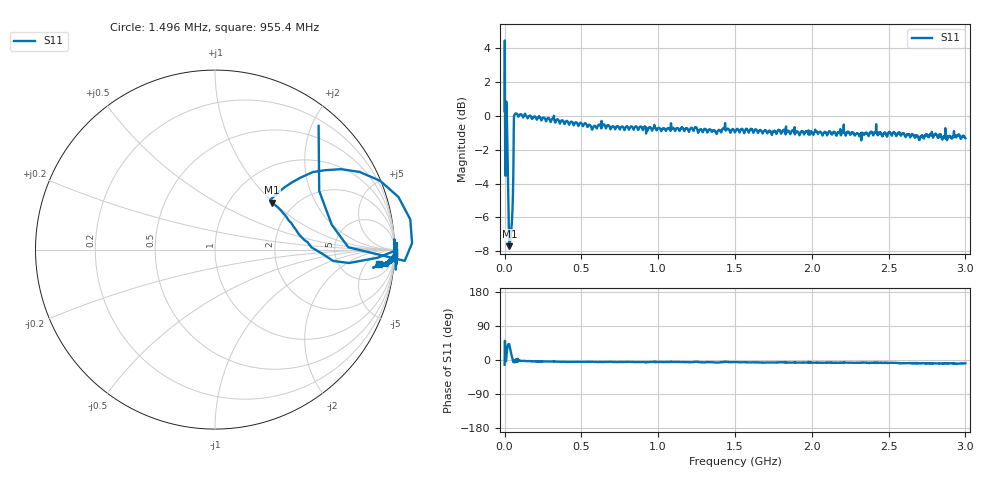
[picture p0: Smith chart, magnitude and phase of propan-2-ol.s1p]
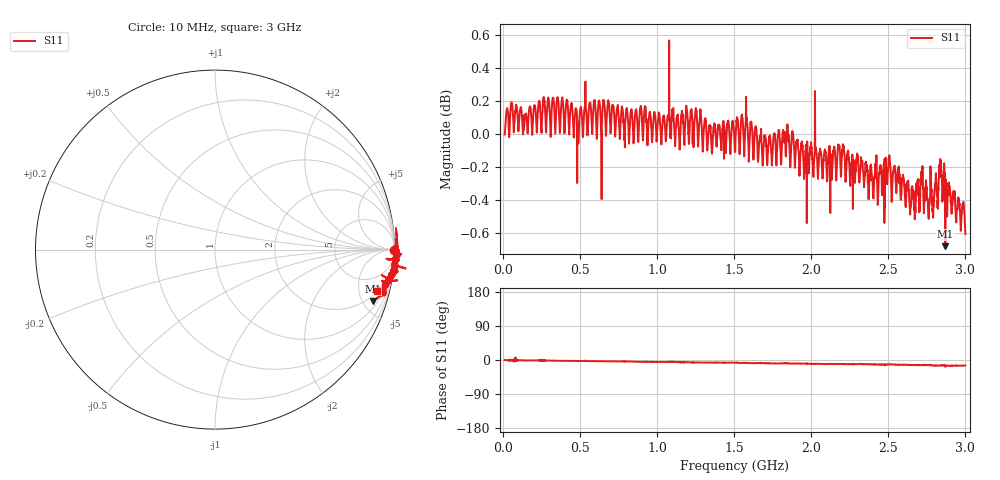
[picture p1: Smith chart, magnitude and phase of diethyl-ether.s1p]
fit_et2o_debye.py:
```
"""
Calibrate S11->Permittivity using NPL Isopropanol data, then apply to Diethyl Ether.

Method:
1. Load NPL isopropanol reference (epsilon', epsilon'' at each frequency)
2. Load your isopropanol S1P measurement
3. Create calibration mapping: epsilon = Y_measured * CalibrationFactor
   where Y_measured = (1-S11)/(1+S11) (Admittance)
4. Load your Diethyl Ether S1P measurement
5. Apply the same mapping to get Et2O's epsilon', epsilon''
6. Fit Debye model to Et2O's extracted permittivity
"""

import numpy as np
import matplotlib.pyplot as plt
from pathlib import Path
import sys
from scipy.optimize import minimize, curve_fit
from scipy.interpolate import interp1d
from scipy.stats import linregress

# Add parent directory to path for imports
sys.path.insert(0, str(Path(__file__).parent))
from ml_classifier.data_loader import parse_s1p_file

# =============================================================================
# MODELS
# =============================================================================

def debye_model(f, eps_s, eps_inf, tau):
    """Single Debye relaxation - returns complex permittivity"""
    omega = 2 * np.pi * f
    denom = 1 + (omega * tau)**2
    eps_prime = eps_inf + (eps_s - eps_inf) / denom
    eps_double_prime = (eps_s - eps_inf) * omega * tau / denom
    return eps_prime, eps_double_prime

def s11_to_admittance(s11_mag, phase_rad):
    """Convert S11 (polar) to Admittance Y = (1-Gamma)/(1+Gamma)"""
    gamma = s11_mag * np.exp(1j * phase_rad)
    # Avoid division by zero if gamma is exactly -1
    gamma = np.where(gamma == -1, -0.999999, gamma)
    y = (1 - gamma) / (1 + gamma)
    return y

# =============================================================================
# DATA LOADING
# =============================================================================

def load_npl_isopropanol():
    """Load NPL reference data for isopropanol at 15C"""
    csv_path = Path("isopropanol_permittivity_15C_NPL.csv")
    if not csv_path.exists():
        raise FileNotFoundError(f"Could not find {csv_path}")
        
    data = np.genfromtxt(csv_path, delimiter=',', skip_header=1)
    
    freq_ghz = data[:, 0]
    eps_prime = data[:, 1]
    eps_double_prime = data[:, 3]
    
    return {
        'freq_hz': freq_ghz * 1e9,
        'freq_ghz': freq_ghz,
        'eps_prime': eps_prime,
        'eps_double_prime': eps_double_prime
    }

def load_s1p_file(filepath):
    """Load S1P file and return frequency, magnitude (linear), phase (rad)"""
    freq_hz, s11_db, phase_deg = parse_s1p_file(filepath)
    
    # Convert to linear magnitude and radians
    s11_mag = 10 ** (s11_db / 20)
    phase_rad = np.deg2rad(phase_deg)
    
    return {
        'freq_hz': freq_hz,
        'freq_ghz': freq_hz / 1e9,
        's11_mag': s11_mag,
        'phase_rad': phase_rad,
        's11_db': s11_db,
        'phase_deg': phase_deg
    }

# =============================================================================
# CALIBRATION & FITTING
# =============================================================================

def create_calibration_from_isopropanol(npl_data, s1p_iso, freq_range=(0.1e9, 3e9)):
    """
    Create a calibration factor using Isopropanol as a standard.
    Assumption: epsilon_complex = Y_measured * CalibrationFactor
    CalibrationFactor = epsilon_ref / Y_measured_iso
    """
    # Filter NPL data to range
    mask_npl = (npl_data['freq_hz'] >= freq_range[0]) & (npl_data['freq_hz'] <= freq_range[1])
    freqs = npl_data['freq_hz'][mask_npl]
    eps_ref_complex = npl_data['eps_prime'][mask_npl] - 1j * npl_data['eps_double_prime'][mask_npl]
    
    # Interpolate S1P data to NPL frequencies
    s11_mag_interp = np.interp(freqs, s1p_iso['freq_hz'], s1p_iso['s11_mag'])
    phase_rad_interp = np.interp(freqs, s1p_iso['freq_hz'], s1p_iso['phase_rad'])
    
    # Calculate Admittance Y for Isopropanol
    y_iso = s11_to_admittance(s11_mag_interp, phase_rad_interp)
    
    # Calculate Calibration Factor (Complex)
    # C_factor = epsilon / Y
    cal_factor = eps_ref_complex / y_iso
    
    return {
        'freq_hz': freqs,
        'cal_factor': cal_factor,
        'y_iso': y_iso,
        'eps_ref': eps_ref_complex
    }

def apply_calibration(calibration, s1p_target):
    """Apply calibration to target S1P data"""
    cal_freqs = calibration['freq_hz']
    cal_factor = calibration['cal_factor']
    
    # Interpolate target S1P to calibration frequencies
    s11_mag_interp = np.interp(cal_freqs, s1p_target['freq_hz'], s1p_target['s11_mag'])
    phase_rad_interp = np.interp(cal_freqs, s1p_target['freq_hz'], s1p_target['phase_rad'])
    
    # Calculate Admittance Y for Target
    y_target = s11_to_admittance(s11_mag_interp, phase_rad_interp)
    
    # Apply Calibration: epsilon = Y * C_factor
    eps_complex = y_target * cal_factor
    
    return {
        'freq_hz': cal_freqs,
        'freq_ghz': cal_freqs / 1e9,
        'eps_prime': np.real(eps_complex),
        'eps_double_prime': -np.imag(eps_complex), # Convention: eps'' is positive loss
        'y_target': y_target
    }

def fit_debye_parameters(freq_hz, eps_prime, eps_double_prime):
    """Fit Debye model to extracted permittivity"""
    
    def residual(params):
        eps_s, eps_inf, tau = params
        ep, edp = debye_model(freq_hz, eps_s, eps_inf, tau)
        
        # Weighted residual (normalize by magnitude)
        res_p = np.sum(((eps_prime - ep) / np.mean(eps_prime))**2)
        res_dp = np.sum(((eps_double_prime - edp) / (np.mean(eps_double_prime)+0.1))**2)
        return res_p + res_dp

    # Initial guesses for Diethyl Ether (Low permittivity)
    # Expected: eps_s ~ 4.3, eps_inf ~ 1.8
    x0 = [4.3, 1.8, 1e-12] # eps_s, eps_inf, tau
    bounds = [(2, 10), (1, 5), (1e-14, 1e-10)]
    
    result = minimize(residual, x0, bounds=bounds, method='L-BFGS-B')
    
    eps_s, eps_inf, tau = result.x
    
    # Calculate R2
    ep_fit, edp_fit = debye_model(freq_hz, eps_s, eps_inf, tau)
    ss_res = np.sum((eps_prime - ep_fit)**2) + np.sum((eps_double_prime - edp_fit)**2)
    ss_tot = np.sum((eps_prime - np.mean(eps_prime))**2) + np.sum((eps_double_prime - np.mean(eps_double_prime))**2)
    r2 = 1 - (ss_res / ss_tot)
    
    return {
        'eps_s': eps_s,
        'eps_inf': eps_inf,
        'tau': tau,
        'f_relax': 1/(2*np.pi*tau),
        'r2': r2
    }

# =============================================================================
# PLOTTING
# =============================================================================

def plot_results(npl_iso, calibration, et2o_result, et2o_fit, output_path):
    """Plot the results"""
    fig, axes = plt.subplots(3, 2, figsize=(14, 15))
    
    # 1. Reference Data (Isopropanol)
    ax = axes[0, 0]
    ax.plot(npl_iso['freq_ghz'], npl_iso['eps_prime'], 'b-', label="Iso ε' (Ref)")
    ax.plot(npl_iso['freq_ghz'], npl_iso['eps_double_prime'], 'r-', label="Iso ε'' (Ref)")
    ax.set_title("Reference: Isopropanol (NPL)")
    ax.set_xlabel("Frequency (GHz)")
    ax.set_ylabel("Permittivity")
    ax.legend()
    ax.grid(True, alpha=0.3)

    # 2. Calibration Factor (Mapping)
    ax = axes[0, 1]
    cal_mag = np.abs(calibration['cal_factor'])
    cal_phase = np.angle(calibration['cal_factor'], deg=True)
    
    ax2 = ax.twinx()
    l1 = ax.plot(calibration['freq_hz']/1e9, cal_mag, 'g-', label="|Cal Factor|")
    l2 = ax2.plot(calibration['freq_hz']/1e9, cal_phase, 'm--', label="∠Cal Factor")
    
    ax.set_title("Calibration Mapping (Factor = ε_ref / Y_iso)")
    ax.set_xlabel("Frequency (GHz)")
    ax.set_ylabel("Magnitude")
    ax2.set_ylabel("Phase (deg)")
    
    lns = l1 + l2
    labs = [l.get_label() for l in lns]
    ax.legend(lns, labs, loc='best')
    ax.grid(True, alpha=0.3)
    
    # 3. Extracted Et2O Permittivity
    ax = axes[1, 0]
    ax.plot(et2o_result['freq_ghz'], et2o_result['eps_prime'], 'b-', label="Et2O ε' (Extracted)")
    ax.plot(et2o_result['freq_ghz'], et2o_result['eps_double_prime'], 'r-', label="Et2O ε'' (Extracted)")
    
    ax.set_title("Extracted: Diethyl Ether Permittivity")
    ax.set_xlabel("Frequency (GHz)")
    ax.set_ylabel("Permittivity")
    ax.legend()
    ax.grid(True, alpha=0.3)

    # 4. Admittance Comparison
    ax = axes[1, 1]
    ax.plot(calibration['freq_hz']/1e9, np.abs(calibration['y_iso']), 'k-', label="|Y_iso|")
    ax.plot(et2o_result['freq_ghz'], np.abs(et2o_result['y_target']), 'b--', label="|Y_Et2O|")
    ax.set_title("Admittance Comparison (|Y|)")
    ax.set_xlabel("Frequency (GHz)")
    ax.set_ylabel("Admittance Magnitude")
    ax.legend()
    ax.grid(True, alpha=0.3)
    
    # 5. Debye Fit (Real Part)
    ax = axes[2, 0]
    freq_smooth = np.linspace(et2o_result['freq_hz'].min(), et2o_result['freq_hz'].max(), 100)
    ep_fit, edp_fit = debye_model(freq_smooth, et2o_fit['eps_s'], et2o_fit['eps_inf'], et2o_fit['tau'])
    
    ax.plot(et2o_result['freq_ghz'], et2o_result['eps_prime'], 'bo', alpha=0.5, label="Data")
    ax.plot(freq_smooth/1e9, ep_fit, 'k--', linewidth=2, label="Debye Fit")
    
    ax.set_title(f"Et2O ε' Fit (εs={et2o_fit['eps_s']:.1f})")
    ax.set_xlabel("Frequency (GHz)")
    ax.set_ylabel("Real Permittivity")
    ax.legend()
    ax.grid(True, alpha=0.3)
    
    # 6. Debye Fit (Imaginary Part)
    ax = axes[2, 1]
    ax.plot(et2o_result['freq_ghz'], et2o_result['eps_double_prime'], 'ro', alpha=0.5, label="Data")
    ax.plot(freq_smooth/1e9, edp_fit, 'k--', linewidth=2, label="Debye Fit")
    
    ax.set_title(f"Et2O ε'' Fit (τ={et2o_fit['tau']*1e12:.1f}ps)")
    ax.set_xlabel("Frequency (GHz)")
    ax.set_ylabel("Imaginary Permittivity")
    ax.legend()
    ax.grid(True, alpha=0.3)
    
    plt.suptitle(f"Diethyl Ether Debye Analysis via Isopropanol Calibration\nR²={et2o_fit['r2']:.4f}", fontsize=14)
    plt.tight_layout(rect=[0, 0.03, 1, 0.97])
    plt.savefig(output_path, dpi=300)
    print(f"Saved plot to {output_path}")

# =============================================================================
# MAIN
# =============================================================================

def main():
    print("="*80)
    print("DIETHYL ETHER DEBYE ANALYSIS (Isopropanol Calibration)")
    print("="*80)
    
    # 1. Load Reference
    print("Loading NPL Isopropanol Reference...")
    try:
        npl_iso = load_npl_isopropanol()
    except Exception as e:
        print(f"Error: {e}")
        return

    # 2. Load Isopropanol S1P
    print("Loading Isopropanol S1P...")
    iso_path = Path("Database/Isopropanol/propan-2-ol.s1p")
    if not iso_path.exists():
        iso_path = Path("compounds/propan-2-ol.s1p")
    
    if not iso_path.exists():
        print("Error: Could not find isopropanol S1P file")
        return
    s1p_iso = load_s1p_file(iso_path)
    
    # 3. Create Calibration
    print("Creating Calibration Mapping...")
    cal = create_calibration_from_isopropanol(npl_iso, s1p_iso)
    
    # 4. Load Diethyl Ether S1P
    print("Loading Diethyl Ether S1P...")
    et2o_path = Path("Database/Diethylether/diethyl-ether.s1p")
    if not et2o_path.exists():
        et2o_path = Path("compounds/diethyl-ether.s1p")
        
    if not et2o_path.exists():
        print("Error: Could not find Diethyl Ether S1P file")
        return
    s1p_et2o = load_s1p_file(et2o_path)
    
    # 5. Apply Calibration
    print("Applying Calibration to Diethyl Ether...")
    et2o_result = apply_calibration(cal, s1p_et2o)
    
    # 6. Fit Debye
    print("Fitting Debye Model...")
    fit = fit_debye_parameters(et2o_result['freq_hz'], 
                               et2o_result['eps_prime'], 
                               et2o_result['eps_double_prime'])
    
    print("\nRESULTS:")
    print(f"Static Permittivity (εs): {fit['eps_s']:.2f} (Expected ~4.3)")
    print(f"High-Freq Permittivity (ε∞): {fit['eps_inf']:.2f} (Expected ~1.8)")
    print(f"Relaxation Time (τ): {fit['tau']*1e12:.2f} ps")
    print(f"Relaxation Freq: {fit['f_relax']/1e9:.2f} GHz")
    print(f"Fit Quality (R²): {fit['r2']:.4f}")
    
    # 7. Plot
    output_dir = Path("demo_results")
    output_dir.mkdir(exist_ok=True)
    plot_results(npl_iso, cal, et2o_result, fit, output_dir / "et2o_debye_calibrated.png")

if __name__ == "__main__":
    main()
```
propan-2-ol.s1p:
# HZ S RI R 50
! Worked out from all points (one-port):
!   2020 points, 10 kHz to 3 GHz, reference 50 ohm
!   lowest |S11| = -7.7 dB at 31.21 MHz (marker M1), VSWR 2.40, Z = 77.9 + j49.1 ohm
!   |S11| at or under -10 dB: nowhere
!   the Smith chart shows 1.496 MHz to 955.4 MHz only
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10000  1.007 -0.2228
5953516  0.6506 0.1382
1.635467e7  0.806 0.4327
1.932643e7  0.6108 0.4421
2.378406e7  0.4275 0.3737
3.121346e7  0.3186 0.2618
3.715698e7  0.3822 0.2005
4.310049e7  0.4379 0.1281
6.39028e7  1.004 -0.0257
7.578983e7  1.013 0.0365
3.68508e8  0.9625 -0.0802
1.000007e9  0.9154 -0.0896
2.000003e9  0.8885 -0.1093
3e9  0.849 -0.1281
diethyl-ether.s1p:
# HZ S RI R 50
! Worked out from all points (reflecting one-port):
!   2020 points, 10 MHz to 3 GHz, reference 50 ohm
!   lowest |S11| = -0.7 dB at 2.87 GHz (marker M1), VSWR 25.68, Z = 73.8 - j295 ohm
!   phase of S11 starts at -0 deg and turns -14 deg over the sweep
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1e7  0.9998 -0.000954
3.402476e8  1.004 -0.0333
1.006667e9  1.007 -0.0939
1.095522e9  1.011 -0.0794
1.237692e9  0.9901 -0.1136
1.483526e9  0.9974 -0.1203
2.003333e9  0.9719 -0.1775
2.323214e9  0.9639 -0.1841
2.462422e9  0.9407 -0.2022
2.518697e9  0.9438 -0.1878
2.660866e9  0.9366 -0.2199
2.847464e9  0.9432 -0.2284
2.869678e9  0.8789 -0.2883
3e9  0.9035 -0.2322
